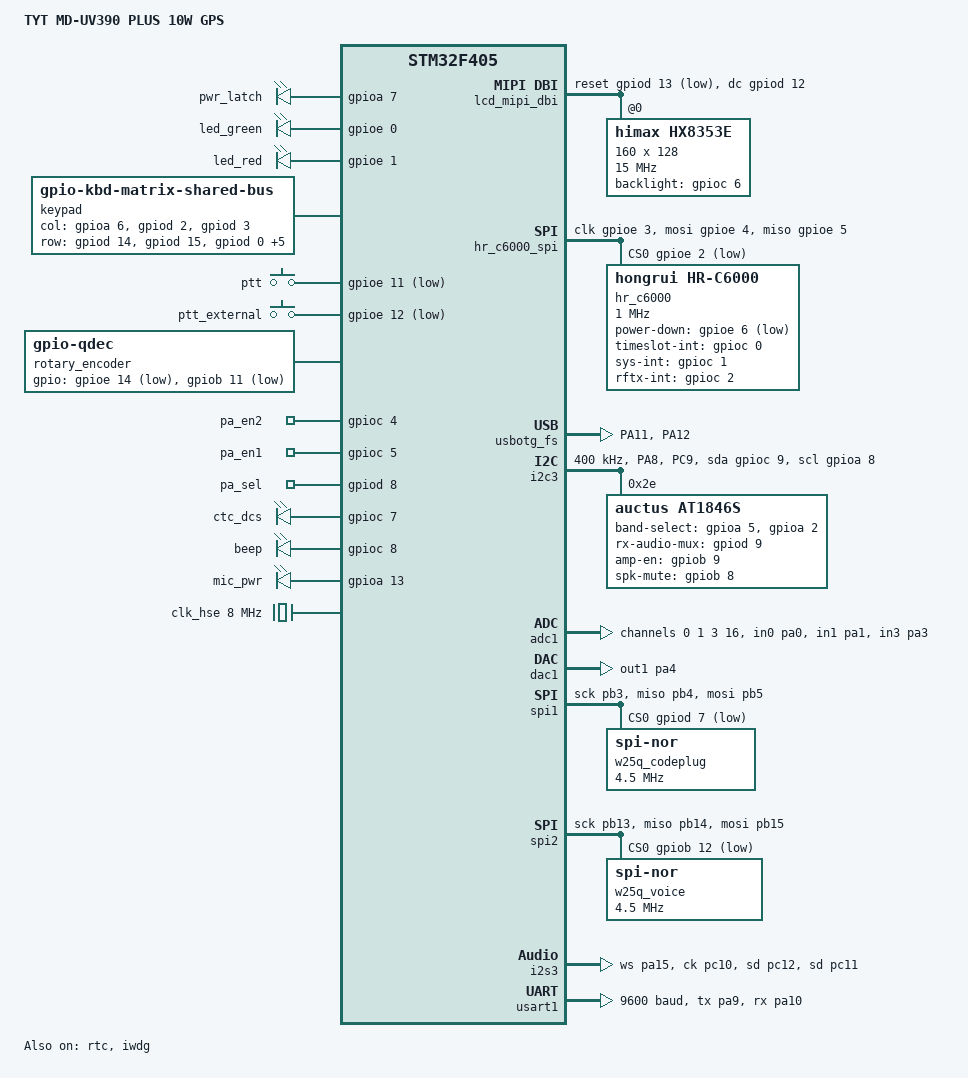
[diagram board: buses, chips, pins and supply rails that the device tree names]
/*
 * Copyright (c) 2026 Andrew Yong <me@ndoo.sg>
 * SPDX-License-Identifier: MIT
 */

/dts-v1/;
#include <st/f4/stm32f405Xg.dtsi>
#include <st/f4/stm32f405vgtx-pinctrl.dtsi>
#include <zephyr/dt-bindings/input/input-event-codes.h>
#include <zephyr/dt-bindings/input/keymap.h>
#include <zephyr/dt-bindings/adc/adc.h>
#include <zephyr/dt-bindings/display/panel.h>

/* Not yet in this Zephyr version's input-event-codes.h; matches Linux's KEY_NUMERIC_STAR/POUND,
 * guarded in case a future update adds them. */
#ifndef INPUT_KEY_NUMERIC_STAR
#define INPUT_KEY_NUMERIC_STAR  0x20a
#endif
#ifndef INPUT_KEY_NUMERIC_POUND
#define INPUT_KEY_NUMERIC_POUND 0x20b
#endif

/*
 * TYT MD-UV390 PLUS 10W GPS — STM32F405VGT6 (LQFP100)
 */

/ {
	model = "TYT MD-UV390 PLUS 10W GPS";
	compatible = "tyt,mduv390plus", "st,stm32f405";

	chosen {
		zephyr,sram           = &sram0;
		zephyr,flash          = &flash0;
		zephyr,code-partition = &slot0_partition;
		zephyr,display        = &hx8353e;
		zephyr,shell-uart     = &cdc_acm_uart0;
	};

	pwr_latch_node: pwr_latch_node {
		compatible = "gpio-leds";
		pwr_latch: pwr_latch {
			gpios = <&gpioa 7 GPIO_ACTIVE_HIGH>;
		};
	};

	leds {
		compatible = "gpio-leds";
		led_green: led_green {
			gpios = <&gpioe 0 GPIO_ACTIVE_HIGH>;
		};
		led_red: led_red {
			gpios = <&gpioe 1 GPIO_ACTIVE_HIGH>;
		};
	};

	/* col-gpios (driven) and row-gpios (sensed) are the same 8 pins as lcd_mipi_dbi's data-gpios below;
	 * kbd_matrix_shared_bus borrows them per scan (see that driver). Active-high, no pull -- a pull-up would source current onto the shared LCD lines. */
	keypad: keypad {
		compatible = "gpio-kbd-matrix-shared-bus";
		col-gpios = <&gpioa 6 GPIO_ACTIVE_HIGH>,
		            <&gpiod 2 GPIO_ACTIVE_HIGH>,
		            <&gpiod 3 GPIO_ACTIVE_HIGH>;
		row-gpios = <&gpiod 14 GPIO_ACTIVE_HIGH>,
		            <&gpiod 15 GPIO_ACTIVE_HIGH>,
		            <&gpiod  0 GPIO_ACTIVE_HIGH>,
		            <&gpiod  1 GPIO_ACTIVE_HIGH>,
		            <&gpioe  7 GPIO_ACTIVE_HIGH>,
		            <&gpioe  8 GPIO_ACTIVE_HIGH>,
		            <&gpioe  9 GPIO_ACTIVE_HIGH>,
		            <&gpioe 10 GPIO_ACTIVE_HIGH>;

		/* row/col below are input-keymap's own axes (INPUT_ABS_Y/X), not physical row/col: "row" (0-7) =
		 * sensed/physical-column, "col" (0-2) = driven/physical-row -- confirmed against real hardware labels. */
		keymap {
			compatible = "input-keymap";
			row-size = <8>;
			col-size = <3>;
			keymap = <
				MATRIX_KEY(0, 0, INPUT_KEY_1)
				MATRIX_KEY(1, 0, INPUT_KEY_2)
				MATRIX_KEY(2, 0, INPUT_KEY_3)
				MATRIX_KEY(3, 0, INPUT_KEY_4)
				MATRIX_KEY(4, 0, INPUT_KEY_5)
				MATRIX_KEY(5, 0, INPUT_KEY_6)
				MATRIX_KEY(6, 0, INPUT_KEY_0)
				MATRIX_KEY(7, 0, INPUT_KEY_NUMERIC_STAR)

				MATRIX_KEY(0, 1, INPUT_KEY_ENTER)
				MATRIX_KEY(1, 1, INPUT_KEY_UP)
				MATRIX_KEY(2, 1, INPUT_KEY_DOWN)
				MATRIX_KEY(3, 1, INPUT_KEY_7)
				MATRIX_KEY(4, 1, INPUT_KEY_8)
				MATRIX_KEY(5, 1, INPUT_KEY_9)
				MATRIX_KEY(6, 1, INPUT_KEY_NUMERIC_POUND)
				MATRIX_KEY(7, 1, INPUT_KEY_BACK)

				/* col 2 (D_2/PD3): only S_6/S_7 wired — SK2/SK1 */
				MATRIX_KEY(6, 2, INPUT_KEY_F16)
				MATRIX_KEY(7, 2, INPUT_KEY_F15)
			>;
		};
	};

	ptt_buttons: ptt_buttons {
		compatible = "gpio-keys";
		/* PE11 shares an EXTI line with the encoder's PB11 -- poll here so
		 * the encoder gets the interrupt; PTT tolerates the latency. */
		polling-mode;
		ptt: ptt {
			gpios = <&gpioe 11 (GPIO_ACTIVE_LOW | GPIO_PULL_UP)>;
			zephyr,code = <INPUT_KEY_F13>;
		};
		ptt_external: ptt_external {
			gpios = <&gpioe 12 (GPIO_ACTIVE_LOW | GPIO_PULL_UP)>;
			zephyr,code = <INPUT_KEY_F14>;
		};
	};

	rotary_encoder: rotary_encoder {
		compatible = "gpio-qdec";
		gpios = <&gpioe 14 (GPIO_ACTIVE_LOW | GPIO_PULL_UP)>,
		        <&gpiob 11 (GPIO_ACTIVE_LOW | GPIO_PULL_UP)>;
		/* Real per-detent count is 2 edges (not 1 -- single clicks double-
		 * stepped; not 4 -- single clicks were often dropped entirely). */
		steps-per-period = <2>;
		/* Fast enough to not miss a quadrature edge on a quick flick. */
		sample-time-us = <250>;
		idle-timeout-ms = <200>;
		/* No idle-poll-time-us: PTT (above) polls now, freeing this EXTI
		 * line so the encoder can idle on a real GPIO interrupt instead. */
		zephyr,axis = <INPUT_REL_Y>;
	};

	lvgl_encoder: lvgl-encoder-input {
		compatible = "zephyr,lvgl-encoder-input";
		rotation-input-code = <INPUT_REL_Y>;
	};

	vol_axis: vol_axis {
		compatible = "analog-axis";
		poll-period-ms = <50>;
		axis-volume {
			io-channels = <&adc1 0>;
			in-min  = <24>;
			in-max  = <2025>;
			out-min = <0>;
			out-max = <100>;
			zephyr,axis = <INPUT_ABS_THROTTLE>;
		};
	};

	lcd_mipi_dbi: lcd_mipi_dbi {
		compatible = "zephyr,mipi-dbi-bitbang";
		status = "okay";
		dc-gpios    = <&gpiod 12 GPIO_ACTIVE_HIGH>;
		reset-gpios = <&gpiod 13 GPIO_ACTIVE_LOW>;
		/* WR is physically active-LOW (8080 write strobe); GPIO_ACTIVE_HIGH is correct here since
		 * gpio_pin_set_dt(wr, 1) drives HIGH (latch) and (wr, 0) drives LOW (assert) -- ACTIVE_LOW would invert this and prevent any latch. */
		wr-gpios    = <&gpiod  5 GPIO_ACTIVE_HIGH>;
		rd-gpios    = <&gpiod  4 GPIO_ACTIVE_HIGH>;
		cs-gpios    = <&gpiod  6 GPIO_ACTIVE_LOW>;
		data-gpios  = <&gpiod 14 GPIO_ACTIVE_HIGH>,
		              <&gpiod 15 GPIO_ACTIVE_HIGH>,
		              <&gpiod  0 GPIO_ACTIVE_HIGH>,
		              <&gpiod  1 GPIO_ACTIVE_HIGH>,
		              <&gpioe  7 GPIO_ACTIVE_HIGH>,
		              <&gpioe  8 GPIO_ACTIVE_HIGH>,
		              <&gpioe  9 GPIO_ACTIVE_HIGH>,
		              <&gpioe 10 GPIO_ACTIVE_HIGH>;
		#address-cells = <1>;
		#size-cells    = <0>;

		hx8353e: hx8353e@0 {
			compatible = "himax,hx8353e";
			reg = <0>;
			mipi-max-frequency = <15000000>;
			mipi-mode = "MIPI_DBI_MODE_8080_BUS_8_BIT";
			width    = <160>;
			height   = <128>;
			rotation = <90>;
			backlight-gpios = <&gpioc 6 GPIO_ACTIVE_HIGH>;
		};
	};

	hr_c6000_spi: spi {
		/* IRQ-safe SPI: the HR-C6000 driver issues spi_transceive() from interrupt context (DMR timeslot state
		 * machine), but upstream zephyr,spi-bitbang acquires a k_sem and isn't ISR-callable; this uses k_spinlock_t instead. */
		compatible = "ht-radio,spi-bitbang-irq";
		status = "okay";
		#address-cells = <1>;
		#size-cells    = <0>;
		clk-gpios  = <&gpioe 3 GPIO_ACTIVE_HIGH>;
		mosi-gpios = <&gpioe 4 GPIO_ACTIVE_HIGH>;
		miso-gpios = <&gpioe 5 GPIO_ACTIVE_HIGH>;
		cs-gpios   = <&gpioe 2 GPIO_ACTIVE_LOW>;

		hr_c6000: hr_c6000@0 {
			compatible = "hongrui,hr-c6000";
			reg = <0>;
			spi-max-frequency = <1000000>;
			power-down-gpios   = <&gpioe 6 GPIO_ACTIVE_LOW>;
			/* Three HR-C6000 interrupt outputs; edge type (rising) is set at runtime via
			 * gpio_pin_interrupt_configure_dt() -- only active-level polarity belongs in these DT cell flags. */
			timeslot-int-gpios = <&gpioc 0 GPIO_ACTIVE_HIGH>;
			sys-int-gpios      = <&gpioc 1 GPIO_ACTIVE_HIGH>;
			rftx-int-gpios     = <&gpioc 2 GPIO_ACTIVE_HIGH>;
		};
	};

	radio_io: radio_io {
		compatible = "gpio-leds";
		pa_en2:  pa_en2  { gpios = <&gpioc  4 GPIO_ACTIVE_HIGH>; };
		pa_en1:  pa_en1  { gpios = <&gpioc  5 GPIO_ACTIVE_HIGH>; };
		pa_sel:  pa_sel  { gpios = <&gpiod  8 GPIO_ACTIVE_HIGH>; };
		ctc_dcs: ctc_dcs { gpios = <&gpioc  7 (GPIO_ACTIVE_HIGH | GPIO_OPEN_DRAIN)>; };
		beep:    beep    { gpios = <&gpioc  8 GPIO_ACTIVE_HIGH>; };
		mic_pwr: mic_pwr { gpios = <&gpioa 13 GPIO_ACTIVE_HIGH>; };
	};

	aliases {
		led0       = &led_green;
		led1       = &led_red;
		watchdog0  = &iwdg;
	};
};

&clk_hse {
	hse-bypass;
	clock-frequency = <DT_FREQ_M(8)>;
	status = "okay";
};

&clk_lse {
	status = "okay";
};

&pll {
	div-m = <4>;
	mul-n = <72>;
	div-p = <2>;
	div-q = <3>;
	clocks = <&clk_hse>;
	status = "okay";
};

&rcc {
	clocks = <&pll>;
	clock-frequency = <DT_FREQ_M(72)>;
	ahb-prescaler  = <1>;
	apb1-prescaler = <2>;
	apb2-prescaler = <1>;
};

&rtc {
	clocks = <&rcc STM32_CLOCK(APB1, 28)>,
		 <&rcc STM32_SRC_LSE RTC_SEL(1)>;
	status = "okay";
	backup_regs {
		status = "okay";
	};
};

&flash0 {
	partitions {
		compatible = "fixed-partitions";
		#address-cells = <1>;
		#size-cells = <1>;

		bootloader_partition: partition@0 {
			label = "tyt-bootloader";
			reg = <0x00000000 DT_SIZE_K(48)>;
			read-only;
		};

		slot0_partition: partition@c000 {
			label = "image-0";
			reg = <0x0000C000 (DT_SIZE_K(1024) - DT_SIZE_K(48))>;
		};
	};
};

zephyr_udc0: &usbotg_fs {
	pinctrl-0 = <&usb_otg_fs_dm_pa11_hs &usb_otg_fs_dp_pa12_hs>;
	pinctrl-names = "default";
	status = "okay";

	cdc_acm_uart0: cdc_acm_uart0 {
		compatible = "zephyr,cdc-acm-uart";
		hw-flow-control;
	};
};

&pinctrl {
	i2c3_scl_pa8_hs: i2c3_scl_pa8_hs {
		pinmux = <STM32_PINMUX('A', 8, AF4)>;
		drive-open-drain;
		slew-rate = "very-high-speed";
	};
	i2c3_sda_pc9_hs: i2c3_sda_pc9_hs {
		pinmux = <STM32_PINMUX('C', 9, AF4)>;
		drive-open-drain;
		slew-rate = "very-high-speed";
	};
	/* I2S3ext full-duplex RX — AF5, not AF6 (SPI3_MISO) */
	i2s3_ext_sd_pc11: i2s3_ext_sd_pc11 {
		pinmux = <STM32_PINMUX('C', 11, AF5)>;
	};
	/* USB OTG FS — very-high-speed required per STM32F405 RM. */
	usb_otg_fs_dm_pa11_hs: usb_otg_fs_dm_pa11_hs {
		pinmux = <STM32_PINMUX('A', 11, AF10)>;
		slew-rate = "very-high-speed";
	};
	usb_otg_fs_dp_pa12_hs: usb_otg_fs_dp_pa12_hs {
		pinmux = <STM32_PINMUX('A', 12, AF10)>;
		slew-rate = "very-high-speed";
	};
};

&i2c3 {
	pinctrl-0 = <&i2c3_scl_pa8_hs &i2c3_sda_pc9_hs>;
	pinctrl-names = "default";
	clock-frequency = <I2C_BITRATE_FAST>;
	scl-gpios = <&gpioa 8 GPIO_OPEN_DRAIN>;
	sda-gpios = <&gpioc 9 GPIO_OPEN_DRAIN>;
	status = "okay";

	at1846s: at1846s@2e {
		compatible = "auctus,at1846s";
		reg = <0x2e>;
		freq-ranges = <134000000 174000000  400000000 520000000>;
		band-select-gpios = <&gpioa 5 GPIO_ACTIVE_HIGH>,
		                    <&gpioa 2 GPIO_ACTIVE_HIGH>;
		rx-audio-mux-gpios = <&gpiod 9 GPIO_ACTIVE_HIGH>;
		amp-en-gpios       = <&gpiob 9 GPIO_ACTIVE_HIGH>;
		spk-mute-gpios     = <&gpiob 8 GPIO_ACTIVE_HIGH>;
		tx-freq-offset-hz = <0>;
		squelch-mode = "software";
	};
};

&adc1 {
	pinctrl-0 = <&adc1_in0_pa0 &adc1_in1_pa1 &adc1_in3_pa3>;
	pinctrl-names = "default";
	#address-cells = <1>;
	#size-cells = <0>;
	st,adc-prescaler = <8>; /* PCLK2/8 = 9 MHz */
	status = "okay";

	channel@0 {
		reg = <0>;
		zephyr,gain            = "ADC_GAIN_1";
		zephyr,reference       = "ADC_REF_INTERNAL";
		zephyr,acquisition-time = <ADC_ACQ_TIME(ADC_ACQ_TIME_TICKS, 480)>;
		zephyr,resolution      = <12>;
	};

	channel@1 {
		reg = <1>;
		zephyr,gain            = "ADC_GAIN_1";
		zephyr,reference       = "ADC_REF_INTERNAL";
		zephyr,acquisition-time = <ADC_ACQ_TIME(ADC_ACQ_TIME_TICKS, 480)>;
		zephyr,resolution      = <12>;
	};

	channel@3 {
		reg = <3>;
		zephyr,gain            = "ADC_GAIN_1";
		zephyr,reference       = "ADC_REF_INTERNAL";
		zephyr,acquisition-time = <ADC_ACQ_TIME(ADC_ACQ_TIME_TICKS, 480)>;
		zephyr,resolution      = <12>;
	};

	/* Internal temperature sensor — channel 16 on STM32F4 */
	channel@10 {
		reg = <16>;
		zephyr,gain            = "ADC_GAIN_1";
		zephyr,reference       = "ADC_REF_INTERNAL";
		zephyr,acquisition-time = <ADC_ACQ_TIME(ADC_ACQ_TIME_TICKS, 480)>;
		zephyr,resolution      = <12>;
		zephyr,vref-mv         = <1210>;
	};
};

&dac1 {
	pinctrl-0 = <&dac_out1_pa4>;
	pinctrl-names = "default";
	status = "okay";
};

&spi1 {
	pinctrl-0 = <&spi1_sck_pb3 &spi1_miso_pb4 &spi1_mosi_pb5>;
	pinctrl-names = "default";
	cs-gpios = <&gpiod 7 GPIO_ACTIVE_LOW>;
	status = "okay";

	/* Codeplug flash — SPI Mode 0, 128 Mbit. SFDP_RUNTIME discovers all params at boot. */
	w25q_codeplug: flash@0 {
		compatible = "jedec,spi-nor";
		reg = <0>;
		spi-max-frequency = <4500000>; /* 72 MHz / 16 */
	};
};

&spi2 {
	pinctrl-0 = <&spi2_sck_pb13 &spi2_miso_pb14 &spi2_mosi_pb15>;
	pinctrl-names = "default";
	cs-gpios = <&gpiob 12 GPIO_ACTIVE_LOW>;
	status = "okay";

	/* Voice flash — SPI Mode 2 (CPOL=1/CPHA=0). SFDP_RUNTIME discovers params at boot. */
	w25q_voice: flash@0 {
		compatible = "jedec,spi-nor";
		reg = <0>;
		spi-max-frequency = <4500000>;
		spi-cpol;
	};
};

&i2s3 {
	pinctrl-0 = <&i2s3_ws_pa15 &i2s3_ck_pc10 &i2s3_sd_pc12 &i2s3_ext_sd_pc11>;
	pinctrl-names = "default";
	status = "okay";
};

&iwdg {
	status = "okay";
};

&usart1 {
	pinctrl-0 = <&usart1_tx_pa9 &usart1_rx_pa10>;
	pinctrl-names = "default";
	current-speed = <9600>;
	status = "okay";
};
